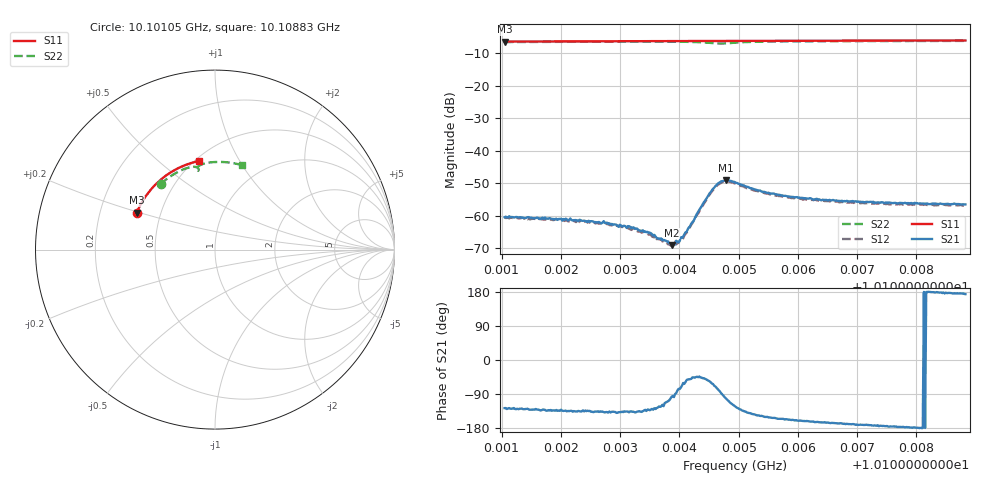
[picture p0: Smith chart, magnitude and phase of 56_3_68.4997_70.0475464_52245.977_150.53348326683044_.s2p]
#  HZ  S  RI  R  50.00
! Rohde & Schwarz Vector Network Analyzer
! Rohde-Schwarz,ZNB20-2Port,1311601062101988,3.16
! Created: UTC 3/20/2024, 5:06:12 PM
! freq[Hz]  re:S11  im:S11  re:S21  im:S21  re:S12  im:S12  re:S22  im:S22
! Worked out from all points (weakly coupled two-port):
!   401 points, 10.10105 GHz to 10.10883 GHz, reference 50 ohm
!   highest |S21| = -49.08 dB at 10.10478 GHz (marker M1); lowest = -69.0 dB at 10.10387 GHz (marker M2)
!   lowest |S11| = -6.3 dB at 10.10105 GHz (marker M3), VSWR 2.86, Z = 18.3 + j9.8 ohm
!   |S11| at or under -10 dB: nowhere
!   |S22| runs from -7.0 to -6.1 dB; largest |S21 - S12| = 0.00035
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1.0101051e10  -0.4355 0.2061  -0.000572 -0.00076  -0.0005 -0.000796  -0.3035 0.3645
1.0101945e10  -0.4121 0.2552  -0.000604 -0.000621  -0.000568 -0.000677  -0.2585 0.4008
1.0102353e10  -0.3996 0.2765  -0.0006 -0.000586  -0.000526 -0.000613  -0.2364 0.4156
1.0102762e10  -0.3861 0.2974  -0.000574 -0.000528  -0.000523 -0.000573  -0.2133 0.4291
1.0103189e10  -0.3706 0.3184  -0.000463 -0.000454  -0.000393 -0.000461  -0.1875 0.4421
1.0103422e10  -0.3618 0.3294  -0.000379 -0.00043  -0.000355 -0.000437  -0.1729 0.4482
1.01035e10  -0.3586 0.333  -0.000372 -0.000404  -0.000301 -0.000414  -0.1678 0.4503
1.0103656e10  -0.3525 0.3401  -0.00024 -0.000372  -0.000213 -0.00038  -0.1576 0.4539
1.0103869e10  -0.3439 0.3498  -4.3e-05 -0.000352  -3e-05 -0.000339  -0.1425 0.4583
1.0103967e10  -0.3399 0.3541  6.58e-05 -0.000391  0.000102 -0.000367  -0.1353 0.4598
1.0104025e10  -0.3373 0.3565  0.00014 -0.000445  0.000164 -0.000391  -0.1308 0.4607
1.0104083e10  -0.335 0.3593  0.000235 -0.00046  0.000279 -0.000411  -0.1262 0.4612
1.0104219e10  -0.3291 0.365  0.000553 -0.00057  0.000555 -0.000535  -0.1151 0.4614
1.0104453e10  -0.3187 0.3747  0.00114 -0.00142  0.00122 -0.00126  -0.0958 0.4548
1.0104589e10  -0.3126 0.3801  0.00102 -0.00252  0.00125 -0.00232  -0.0905 0.4448
1.0104686e10  -0.3084 0.3841  0.000378 -0.00327  0.0006 -0.00309  -0.0941 0.4394
1.0104783e10  -0.3039 0.3879  -0.00068 -0.00345  -0.000348 -0.00333  -0.1001 0.441
1.0104938e10  -0.2967 0.3938  -0.00176 -0.00278  -0.00143 -0.0028  -0.1013 0.453
1.0105502e10  -0.2698 0.4149  -0.00199 -0.00109  -0.0018 -0.00124  -0.0644 0.4778
1.0106241e10  -0.232 0.4391  -0.00172 -0.000539  -0.00166 -0.000675  -0.014 0.4869
1.0107543e10  -0.161 0.4726  -0.0016 -0.000119  -0.00147 -0.000276  0.071 0.4859
1.0108826e10  -0.0865 0.4941  -0.00149 0.000161  -0.00145 -1.12e-05  0.1517 0.47
